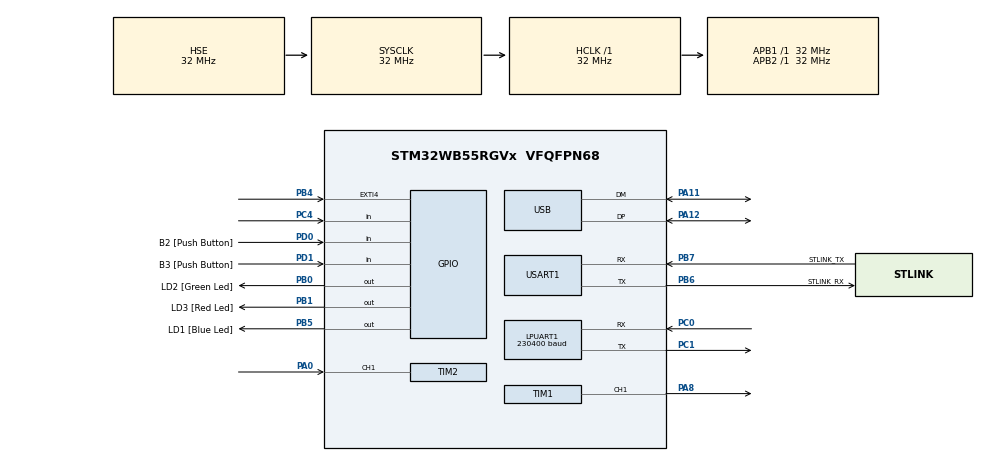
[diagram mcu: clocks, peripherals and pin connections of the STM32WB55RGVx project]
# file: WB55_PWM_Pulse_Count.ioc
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LPUART1.BaudRate=230400
Mcu.Family=STM32WB
Mcu.Name=STM32WB55RGVx
Mcu.Package=VFQFPN68
NVIC.EXTI4_IRQn=true\:0\:0\:false\:false\:true\:true\:true
NVIC.PriorityGroup=NVIC_PRIORITYGROUP_4
NVIC.TIM2_IRQn=true\:0\:0\:false\:false\:true\:true\:true
OSC_IN.Mode=HSE-External-Oscillator
OSC_IN.Signal=RCC_OSC_IN
OSC_OUT.Mode=HSE-External-Oscillator
OSC_OUT.Signal=RCC_OSC_OUT
PA0.Signal=S_TIM2_CH1
PA11.Mode=Device
PA11.Signal=USB_DM
PA12.Mode=Device
PA12.Signal=USB_DP
PA13.GPIO_Label=JTMS
PA13.Mode=Trace_Asynchronous_SW
PA13.Signal=SYS_JTMS-SWDIO
PA14.GPIO_Label=JTCK
PA14.Mode=Trace_Asynchronous_SW
PA14.Signal=SYS_JTCK-SWCLK
PA8.Signal=S_TIM1_CH1
PB0.GPIO_Label=LD2 [Green Led]
PB0.Signal=GPIO_Output
PB1.GPIO_Label=LD3 [Red Led]
PB1.Signal=GPIO_Output
PB3.GPIO_Label=JTDO
PB3.Mode=Trace_Asynchronous_SW
PB3.Signal=SYS_JTDO-SWO
PB4.Signal=GPXTI4
PB5.GPIO_Label=LD1 [Blue Led]
PB5.Signal=GPIO_Output
PB6.GPIO_Label=STLINK_RX
PB6.GPIO_PuPd=GPIO_PULLUP
PB6.Mode=Asynchronous
PB6.Signal=USART1_TX
PB7.GPIO_Label=STLINK_TX
PB7.GPIO_PuPd=GPIO_PULLUP
PB7.Mode=Asynchronous
PB7.Signal=USART1_RX
PC0.Mode=Asynchronous
PC0.Signal=LPUART1_RX
PC1.Mode=Asynchronous
PC1.Signal=LPUART1_TX
PC13.Mode=SYS_WakeUp1
PC13.Signal=SYS_WKUP2
PC14-OSC32_IN.Mode=LSE-External-Oscillator
PC14-OSC32_IN.Signal=RCC_OSC32_IN
PC15-OSC32_OUT.Mode=LSE-External-Oscillator
PC15-OSC32_OUT.Signal=RCC_OSC32_OUT
PC4.Signal=GPIO_Input
PD0.GPIO_Label=B2 [Push Button]
PD0.Signal=GPIO_Input
PD1.GPIO_Label=B3 [Push Button]
PD1.Signal=GPIO_Input
ProjectManager.HeapSize=0x200
ProjectManager.StackSize=0x400
ProjectManager.TargetToolchain=STM32CubeIDE
RCC.ADCFreq_Value=48000000
RCC.AHBFreq_Value=32000000
RCC.APB1Freq_Value=32000000
RCC.APB1TimFreq_Value=32000000
RCC.APB2Freq_Value=32000000
RCC.APB2TimFreq_Value=32000000
RCC.APB3Freq_Value=16000000
RCC.CortexFreq_Value=32000000
RCC.HCLKFreq_Value=32000000
RCC.HSE_VALUE=32000000
RCC.HSI48_VALUE=48000000
RCC.HSI_VALUE=16000000
RCC.PLLN=32
RCC.PLLSAI1N=24
RCC.SMPSCLockSelectionVirtual=RCC_SMPSCLKSOURCE_HSI
RCC.SMPSCLockSelectionVirtualVirtual=RCC_SMPSCLKSOURCE_HSI
RCC.SMPSDivider=1
RCC.SYSCLKFreq_VALUE=32000000
RCC.SYSCLKSource=RCC_SYSCLKSOURCE_HSE
RCC.USBFreq_Value=48000000
RCC.VCOOutputFreq_Value=128000000
SH.S_TIM1_CH1.0=TIM1_CH1,PWM Generation1 CH1
SH.S_TIM2_CH1.0=TIM2_CH1,Input_Capture1_from_TI1
SH.S_TIM2_CH1.1=TIM2_CH1,Input_Capture2_from_TI1
SH.S_TIM2_CH1.2=TIM2_CH1,TriggerSource_TI1FP1
TIM1.Channel-PWM\ Generation1\ CH1=TIM_CHANNEL_1
TIM1.Period=10000-1
TIM1.Prescaler=32-1
TIM1.Pulse-PWM\ Generation1\ CH1=5000
TIM2.AutoReloadPreload=TIM_AUTORELOAD_PRELOAD_ENABLE
TIM2.Channel-Input_Capture1_from_TI1=TIM_CHANNEL_1
TIM2.Channel-Input_Capture2_from_TI1=TIM_CHANNEL_2
TIM2.ICPolarity_CH2=TIM_INPUTCHANNELPOLARITY_FALLING
TIM2.Prescaler=64-1
USART1.VirtualMode-Asynchronous=VM_ASYNC
USART1.WordLength=WORDLENGTH_7B
VP_TIM2_VS_ClockSourceINT.Mode=Internal
VP_TIM2_VS_ControllerModeReset.Mode=Reset Mode
board=NUCLEO-WB55RG

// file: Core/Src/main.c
/* USER CODE BEGIN Header */
/**
  ******************************************************************************
  * @file           : main.c
  * @brief          : Main program body
  ******************************************************************************
  * @attention
  *
  * <h2><center>&copy; Copyright (c) 2023 STMicroelectronics.
  * All rights reserved.</center></h2>
  *
  * This software component is licensed by ST under BSD 3-Clause license,
  * the "License"; You may not use this file except in compliance with the
  * License. You may obtain a copy of the License at:
  *                        opensource.org/licenses/BSD-3-Clause
  *
  ******************************************************************************
  */
/* USER CODE END Header */
#include "main.h"
#include "usart.h"
#include "tim.h"
#include "usb.h"
#include "gpio.h"

/* USER CODE BEGIN Includes */
#include "retarget.h"
/* USER CODE END Includes */

void SystemClock_Config(void);

/* USER CODE BEGIN 0 */
extern uint32_t IC1Value;
extern uint32_t IC2Value ;
extern float DutyCycle;
extern float Frequency ;
/* USER CODE END 0 */

int main(void)
{

  /* MCU Configuration--------------------------------------------------------*/

  /* Reset of all peripherals, Initializes the Flash interface and the Systick. */
  HAL_Init();

  /* Configure the system clock */
  SystemClock_Config();

  /* Initialize all configured peripherals */
  MX_GPIO_Init();
  MX_LPUART1_UART_Init();
  MX_USART1_UART_Init();
  MX_TIM1_Init();
  MX_TIM2_Init();
  MX_USB_PCD_Init();
  /* USER CODE BEGIN 2 */
    RetargetInit(&hlpuart1);
  /* USER CODE END 2 */

  /* Infinite loop */
  /* USER CODE BEGIN WHILE */
    HAL_TIM_PWM_Start(&htim1,TIM_CHANNEL_1);

    HAL_TIM_IC_Start_IT(&htim2,TIM_CHANNEL_1);
    HAL_TIM_IC_Start_IT(&htim2,TIM_CHANNEL_2);
    int Pulse = 0;
  while (1)
  {
      printf("V1 = %lu,V2 = %lu\r\n",IC1Value,IC2Value);
      printf("DC = %0.2f,Pulse Frequency = %0.2f\r\n",DutyCycle,Frequency);
      HAL_Delay(100);

      if(HAL_GPIO_ReadPin(GPIOB,GPIO_PIN_4)!=GPIO_PIN_SET){
          HAL_Delay(10);
          if(HAL_GPIO_ReadPin(GPIOB,GPIO_PIN_4)!=GPIO_PIN_SET){

              if(Pulse>10000){Pulse=0;}else{Pulse+=1000;}
              printf("Pulse : %d\r\n",Pulse);
              __HAL_TIM_SET_COUNTER(&htim1,Pulse);

              HAL_TIM_PWM_Start(&htim1,TIM_CHANNEL_1);
          }
          while (HAL_GPIO_ReadPin(GPIOB,GPIO_PIN_4)!=GPIO_PIN_SET){
              HAL_Delay(20);
          }
      }
    /* USER CODE END WHILE */

  }
}

void SystemClock_Config(void)
{
  RCC_OscInitTypeDef RCC_OscInitStruct = {0};
  RCC_ClkInitTypeDef RCC_ClkInitStruct = {0};
  RCC_PeriphCLKInitTypeDef PeriphClkInitStruct = {0};

  /** Macro to configure the PLL multiplication factor
  */
  __HAL_RCC_PLL_PLLM_CONFIG(RCC_PLLM_DIV1);
  /** Macro to configure the PLL clock source
  */
  __HAL_RCC_PLL_PLLSOURCE_CONFIG(RCC_PLLSOURCE_MSI);
  /** Configure LSE Drive Capability
  */
  HAL_PWR_EnableBkUpAccess();
  __HAL_RCC_LSEDRIVE_CONFIG(RCC_LSEDRIVE_LOW);
  /** Configure the main internal regulator output voltage
  */
  __HAL_PWR_VOLTAGESCALING_CONFIG(PWR_REGULATOR_VOLTAGE_SCALE1);
  /** Initializes the RCC Oscillators according to the specified parameters
  * in the RCC_OscInitTypeDef structure.
  */
  RCC_OscInitStruct.OscillatorType = RCC_OSCILLATORTYPE_HSI|RCC_OSCILLATORTYPE_HSE
                              |RCC_OSCILLATORTYPE_LSE|RCC_OSCILLATORTYPE_MSI;
  RCC_OscInitStruct.HSEState = RCC_HSE_ON;
  RCC_OscInitStruct.LSEState = RCC_LSE_ON;
  RCC_OscInitStruct.HSIState = RCC_HSI_ON;
  RCC_OscInitStruct.MSIState = RCC_MSI_ON;
  RCC_OscInitStruct.HSICalibrationValue = RCC_HSICALIBRATION_DEFAULT;
  RCC_OscInitStruct.MSICalibrationValue = RCC_MSICALIBRATION_DEFAULT;
  RCC_OscInitStruct.MSIClockRange = RCC_MSIRANGE_6;
  RCC_OscInitStruct.PLL.PLLState = RCC_PLL_NONE;
  if (HAL_RCC_OscConfig(&RCC_OscInitStruct) != HAL_OK)
  {
    Error_Handler();
  }
  /** Configure the SYSCLKSource, HCLK, PCLK1 and PCLK2 clocks dividers
  */
  RCC_ClkInitStruct.ClockType = RCC_CLOCKTYPE_HCLK4|RCC_CLOCKTYPE_HCLK2
                              |RCC_CLOCKTYPE_HCLK|RCC_CLOCKTYPE_SYSCLK
                              |RCC_CLOCKTYPE_PCLK1|RCC_CLOCKTYPE_PCLK2;
  RCC_ClkInitStruct.SYSCLKSource = RCC_SYSCLKSOURCE_HSE;
  RCC_ClkInitStruct.AHBCLKDivider = RCC_SYSCLK_DIV1;
  RCC_ClkInitStruct.APB1CLKDivider = RCC_HCLK_DIV1;
  RCC_ClkInitStruct.APB2CLKDivider = RCC_HCLK_DIV1;
  RCC_ClkInitStruct.AHBCLK2Divider = RCC_SYSCLK_DIV1;
  RCC_ClkInitStruct.AHBCLK4Divider = RCC_SYSCLK_DIV1;

  if (HAL_RCC_ClockConfig(&RCC_ClkInitStruct, FLASH_LATENCY_1) != HAL_OK)
  {
    Error_Handler();
  }
  /** Initializes the peripherals clocks
  */
  PeriphClkInitStruct.PeriphClockSelection = RCC_PERIPHCLK_SMPS|RCC_PERIPHCLK_USART1
                              |RCC_PERIPHCLK_LPUART1|RCC_PERIPHCLK_USB;
  PeriphClkInitStruct.PLLSAI1.PLLN = 24;
  PeriphClkInitStruct.PLLSAI1.PLLP = RCC_PLLP_DIV2;
  PeriphClkInitStruct.PLLSAI1.PLLQ = RCC_PLLQ_DIV2;
  PeriphClkInitStruct.PLLSAI1.PLLR = RCC_PLLR_DIV2;
  PeriphClkInitStruct.PLLSAI1.PLLSAI1ClockOut = RCC_PLLSAI1_USBCLK;
  PeriphClkInitStruct.Usart1ClockSelection = RCC_USART1CLKSOURCE_PCLK2;
  PeriphClkInitStruct.Lpuart1ClockSelection = RCC_LPUART1CLKSOURCE_PCLK1;
  PeriphClkInitStruct.UsbClockSelection = RCC_USBCLKSOURCE_PLLSAI1;
  PeriphClkInitStruct.SmpsClockSelection = RCC_SMPSCLKSOURCE_HSI;
  PeriphClkInitStruct.SmpsDivSelection = RCC_SMPSCLKDIV_RANGE0;
  if (HAL_RCCEx_PeriphCLKConfig(&PeriphClkInitStruct) != HAL_OK)
  {
    Error_Handler();
  }
  /** Enable MSI Auto calibration
  */
  HAL_RCCEx_EnableMSIPLLMode();
}

void Error_Handler(void)
{
  __disable_irq();
  while (1)
  {
  }
}

/************************ (C) COPYRIGHT STMicroelectronics *****END OF FILE****/
